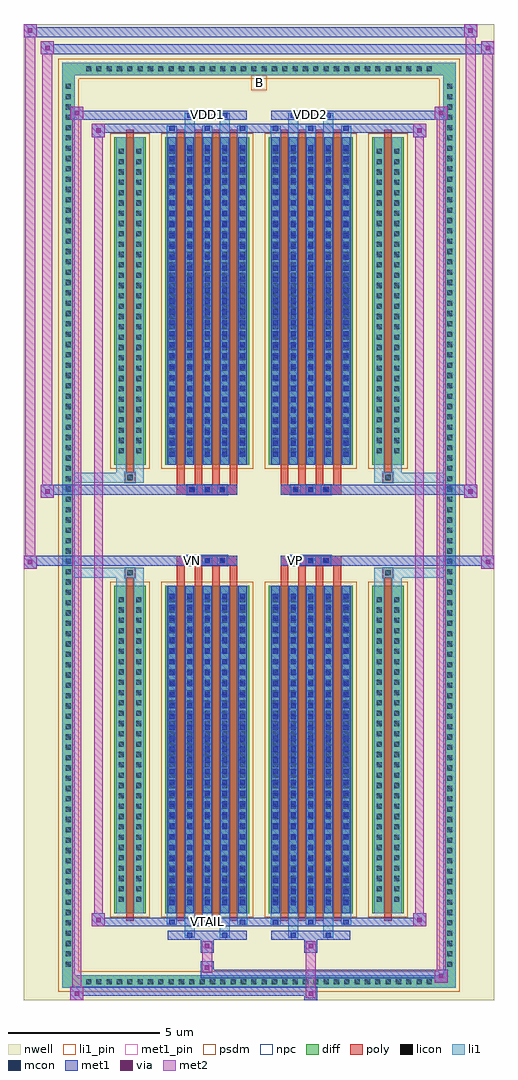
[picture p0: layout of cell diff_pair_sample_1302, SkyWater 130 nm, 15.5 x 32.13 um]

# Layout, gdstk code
import gdstk
lib = gdstk.Library(unit=1e-6, precision=5e-09)
def R(c, l, rs):  # rectangles x0, y0, x1, y1
    for r in rs: c.add(gdstk.rectangle(r[:2], r[2:], *l))
def A(c, l, x, y, w, h, nx, ny, dx, dy):  # array of equal rectangles
    R(c, l, [(x+i*dx, y+j*dy, x+i*dx+w, y+j*dy+h) for i in range(nx) for j in range(ny)])
def P(c, l, *ps):  # polygons
    for p in ps: c.add(gdstk.Polygon(p, *l))
nwell = (64, 20)
diff = (65, 20)
poly = (66, 20)
licon = (66, 44)
li1_pin = (67, 16)
li1 = (67, 20)
mcon = (67, 44)
met1_pin = (68, 16)
met1 = (68, 20)
via = (68, 44)
met2 = (69, 20)
psdm = (94, 20)
npc = (95, 20)

diff_pair_sample_1302 = lib.new_cell('diff_pair_sample_1302')
R(diff_pair_sample_1302, nwell, [(-7.75,-15.63,7.75,16.5), (-5.07,-13.82,-0.01,-0.8), (0.01,-13.82,5.07,-0.8), (-5.07,0.8,-0.01,13.82), (0.01,0.8,5.07,13.82)])
A(diff_pair_sample_1302, diff, -5.815, -15.23, 0.41, 0.41, 34, 2, 0.34, 30.05)
A(diff_pair_sample_1302, diff, -6.48, -14.655, 0.41, 0.41, 1, 86, 0, 0.34)
A(diff_pair_sample_1302, diff, 6.07, -14.655, 0.41, 0.41, 1, 86, 0, 0.34)
R(diff_pair_sample_1302, diff, [(-5.815,-15.23,5.815,-14.82), (-6.48,-14.655,-6.07,14.655), (6.07,-14.655,6.48,14.655), (-4.76,-12.775,-3.73,-1.985), (-3.09,-12.775,-0.32,-1.985), (0.32,-12.775,3.09,-1.985), (3.73,-12.775,4.76,-1.985), (-4.76,1.985,-3.73,12.775), (-3.09,1.985,-0.32,12.775), (0.32,1.985,3.09,12.775), (3.73,1.985,4.76,12.775), (-5.815,14.82,5.815,15.23)])
P(diff_pair_sample_1302, diff, [(6.48,15.23),(-6.48,15.23),(-6.48,-14.82),(-6.07,-14.82),(-6.07,14.82),(6.07,14.82),(6.07,-14.82),(-6.07,-14.82),(-6.48,-14.82),(-6.48,-15.23),(6.48,-15.23)])
A(diff_pair_sample_1302, poly, -2.7, -13.025, 0.25, 11.29, 4, 2, 0.58, 14.76)
A(diff_pair_sample_1302, poly, 0.71, -13.025, 0.25, 11.29, 4, 2, 0.58, 14.76)
A(diff_pair_sample_1302, poly, -2.7, -1.735, 0.25, 0.405, 4, 2, 0.58, 3.065)
A(diff_pair_sample_1302, poly, 0.71, -1.735, 0.25, 0.405, 4, 2, 0.58, 3.065)
A(diff_pair_sample_1302, poly, -2.37, -1.33, 0.33, 0.33, 3, 2, 0.5, 2.33)
A(diff_pair_sample_1302, poly, 1.04, -1.33, 0.33, 0.33, 3, 2, 0.5, 2.33)
R(diff_pair_sample_1302, poly, [(-4.37,-13.025,-4.12,-1.735), (4.12,-13.025,4.37,-1.735), (-4.41,-1.735,-4.08,-1.405), (-4.41,-1.735,-4.08,-1.405), (4.08,-1.735,4.41,-1.405), (4.08,-1.735,4.41,-1.405), (-2.7,-1.33,-0.71,-1), (0.71,-1.33,2.7,-1), (-2.7,1,-0.71,1.33), (0.71,1,2.7,1.33), (-4.41,1.405,-4.08,1.735), (-4.41,1.405,-4.08,1.735), (4.08,1.405,4.41,1.735), (4.08,1.405,4.41,1.735), (-4.37,1.735,-4.12,13.025), (4.12,1.735,4.37,13.025)])
A(diff_pair_sample_1302, licon, -5.695, -15.11, 0.17, 0.17, 34, 2, 0.34, 30.05)
A(diff_pair_sample_1302, licon, -6.36, -14.535, 0.17, 0.17, 1, 86, 0, 0.34)
A(diff_pair_sample_1302, licon, 6.19, -14.535, 0.17, 0.17, 1, 86, 0, 0.34)
A(diff_pair_sample_1302, licon, -4.62, -12.395, 0.17, 0.17, 1, 30, 0, 0.34)
A(diff_pair_sample_1302, licon, -4.04, -12.395, 0.17, 0.17, 1, 30, 0, 0.34)
A(diff_pair_sample_1302, licon, -2.95, -12.395, 0.17, 0.17, 5, 30, 0.58, 0.34)
A(diff_pair_sample_1302, licon, 0.46, -12.395, 0.17, 0.17, 5, 30, 0.58, 0.34)
A(diff_pair_sample_1302, licon, 3.87, -12.395, 0.17, 0.17, 1, 30, 0, 0.34)
A(diff_pair_sample_1302, licon, 4.45, -12.395, 0.17, 0.17, 1, 30, 0, 0.34)
A(diff_pair_sample_1302, licon, -2.29, -1.25, 0.17, 0.17, 3, 2, 0.5, 2.33)
A(diff_pair_sample_1302, licon, 1.12, -1.25, 0.17, 0.17, 3, 2, 0.5, 2.33)
A(diff_pair_sample_1302, licon, -4.62, 2.365, 0.17, 0.17, 1, 30, 0, 0.34)
A(diff_pair_sample_1302, licon, -4.04, 2.365, 0.17, 0.17, 1, 30, 0, 0.34)
A(diff_pair_sample_1302, licon, -2.95, 2.365, 0.17, 0.17, 5, 30, 0.58, 0.34)
A(diff_pair_sample_1302, licon, 0.46, 2.365, 0.17, 0.17, 5, 30, 0.58, 0.34)
A(diff_pair_sample_1302, licon, 3.87, 2.365, 0.17, 0.17, 1, 30, 0, 0.34)
A(diff_pair_sample_1302, licon, 4.45, 2.365, 0.17, 0.17, 1, 30, 0, 0.34)
R(diff_pair_sample_1302, licon, [(-4.33,-1.655,-4.16,-1.485), (4.16,-1.655,4.33,-1.485), (-4.33,1.485,-4.16,1.655), (4.16,1.485,4.33,1.655)])
R(diff_pair_sample_1302, li1_pin, [(-0.25,14.32,0.25,14.82)])
A(diff_pair_sample_1302, li1, -5.775, -15.19, 0.33, 0.33, 34, 2, 0.34, 30.05)
A(diff_pair_sample_1302, li1, -6.44, -14.615, 0.33, 0.33, 1, 86, 0, 0.34)
A(diff_pair_sample_1302, li1, 6.11, -14.615, 0.33, 0.33, 1, 86, 0, 0.34)
A(diff_pair_sample_1302, li1, -3.03, -13.15, 0.33, 0.375, 3, 2, 1.16, 25.925)
A(diff_pair_sample_1302, li1, -2.95, -13.15, 0.17, 0.17, 3, 2, 1.16, 26.13)
A(diff_pair_sample_1302, li1, 0.38, -13.15, 0.33, 0.375, 3, 2, 1.16, 25.925)
A(diff_pair_sample_1302, li1, 0.46, -13.15, 0.17, 0.17, 3, 2, 1.16, 26.13)
A(diff_pair_sample_1302, li1, -3.03, -12.775, 0.33, 10.79, 5, 2, 0.58, 14.76)
A(diff_pair_sample_1302, li1, 0.38, -12.775, 0.33, 10.79, 5, 2, 0.58, 14.76)
A(diff_pair_sample_1302, li1, -2.95, -12.505, 0.17, 0.17, 5, 29, 0.58, 0.36)
A(diff_pair_sample_1302, li1, -2.95, -12.505, 0.17, 10.25, 5, 2, 0.58, 14.76)
A(diff_pair_sample_1302, li1, 0.46, -12.505, 0.17, 0.17, 5, 29, 0.58, 0.36)
A(diff_pair_sample_1302, li1, 0.46, -12.505, 0.17, 10.25, 5, 2, 0.58, 14.76)
A(diff_pair_sample_1302, li1, -4.7, -12.475, 0.33, 0.33, 1, 30, 0, 0.34)
A(diff_pair_sample_1302, li1, -4.12, -12.475, 0.33, 0.33, 1, 30, 0, 0.34)
A(diff_pair_sample_1302, li1, -3.03, -12.475, 0.33, 0.33, 5, 30, 0.58, 0.34)
A(diff_pair_sample_1302, li1, 0.38, -12.475, 0.33, 0.33, 5, 30, 0.58, 0.34)
A(diff_pair_sample_1302, li1, 3.79, -12.475, 0.33, 0.33, 1, 30, 0, 0.34)
A(diff_pair_sample_1302, li1, 4.37, -12.475, 0.33, 0.33, 1, 30, 0, 0.34)
A(diff_pair_sample_1302, li1, -2.37, -1.33, 0.33, 0.33, 3, 2, 0.5, 2.33)
A(diff_pair_sample_1302, li1, 1.04, -1.33, 0.33, 0.33, 3, 2, 0.5, 2.33)
A(diff_pair_sample_1302, li1, -2.95, 2.255, 0.17, 0.17, 5, 29, 0.58, 0.36)
A(diff_pair_sample_1302, li1, 0.46, 2.255, 0.17, 0.17, 5, 29, 0.58, 0.36)
A(diff_pair_sample_1302, li1, -4.7, 2.285, 0.33, 0.33, 1, 30, 0, 0.34)
A(diff_pair_sample_1302, li1, -4.12, 2.285, 0.33, 0.33, 1, 30, 0, 0.34)
A(diff_pair_sample_1302, li1, -3.03, 2.285, 0.33, 0.33, 5, 30, 0.58, 0.34)
A(diff_pair_sample_1302, li1, 0.38, 2.285, 0.33, 0.33, 5, 30, 0.58, 0.34)
A(diff_pair_sample_1302, li1, 3.79, 2.285, 0.33, 0.33, 1, 30, 0, 0.34)
A(diff_pair_sample_1302, li1, 4.37, 2.285, 0.33, 0.33, 1, 30, 0, 0.34)
R(diff_pair_sample_1302, li1, [(-6.48,-15.23,-6.07,-14.82), (-6.48,-15.23,-6.07,-14.82), (-6.07,-15.23,6.07,-14.82), (6.07,-15.23,6.48,-14.82), (6.07,-15.23,6.48,-14.82), (-6.48,-14.82,-6.07,14.82), (6.07,-14.82,6.48,14.82), (-2.45,-13.58,-2.12,-12.775), (-2.37,-13.58,-2.2,-13.41), (-1.29,-13.58,-0.96,-12.775), (-1.21,-13.58,-1.04,-13.41), (0.96,-13.58,1.29,-12.775), (1.04,-13.58,1.21,-13.41), (2.12,-13.58,2.45,-12.775), (2.2,-13.58,2.37,-13.41), (-4.7,-12.775,-4.37,-1.985), (-4.12,-12.775,-3.79,-1.985), (3.79,-12.775,4.12,-1.985), (4.37,-12.775,4.7,-1.985), (-4.7,-1.985,-4.37,-1.405), (-4.12,-1.985,-3.79,-1.405), (3.79,-1.985,4.12,-1.405), (4.37,-1.985,4.7,-1.405), (-6.48,-1.735,-4.41,-1.405), (-4.7,-1.735,-4.41,-1.405), (-4.41,-1.735,-4.08,-1.405), (-4.08,-1.735,-3.79,-1.405), (3.79,-1.735,4.08,-1.405), (4.08,-1.735,4.41,-1.405), (4.08,-1.735,6.48,-1.405), (4.41,-1.735,4.7,-1.405), (-6.48,1.405,-4.41,1.735), (-4.7,1.405,-4.41,1.735), (-4.7,1.405,-4.37,1.985), (-4.41,1.405,-4.08,1.735), (-4.12,1.405,-3.79,1.985), (-4.08,1.405,-3.79,1.735), (3.79,1.405,4.08,1.735), (3.79,1.405,4.12,1.985), (4.08,1.405,4.41,1.735), (4.08,1.405,6.48,1.735), (4.37,1.405,4.7,1.985), (4.41,1.405,4.7,1.735), (-4.7,1.985,-4.37,12.775), (-4.12,1.985,-3.79,12.775), (3.79,1.985,4.12,12.775), (4.37,1.985,4.7,12.775), (-2.45,12.775,-2.12,13.58), (-1.29,12.775,-0.96,13.58), (0.96,12.775,1.29,13.58), (2.12,12.775,2.45,13.58), (-2.37,13.41,-2.2,13.58), (-1.21,13.41,-1.04,13.58), (1.04,13.41,1.21,13.58), (2.2,13.41,2.37,13.58), (-6.48,14.82,-6.07,15.23), (-6.48,14.82,-6.07,15.23), (-6.07,14.82,6.07,15.23), (6.07,14.82,6.48,15.23), (6.07,14.82,6.48,15.23)])
A(diff_pair_sample_1302, mcon, -2.95, -13.15, 0.17, 0.17, 3, 2, 1.16, 26.13)
A(diff_pair_sample_1302, mcon, 0.46, -13.15, 0.17, 0.17, 3, 2, 1.16, 26.13)
A(diff_pair_sample_1302, mcon, -2.95, -12.505, 0.17, 0.17, 5, 29, 0.58, 0.36)
A(diff_pair_sample_1302, mcon, 0.46, -12.505, 0.17, 0.17, 5, 29, 0.58, 0.36)
A(diff_pair_sample_1302, mcon, -2.29, -1.25, 0.17, 0.17, 3, 2, 0.5, 2.33)
A(diff_pair_sample_1302, mcon, 1.12, -1.25, 0.17, 0.17, 3, 2, 0.5, 2.33)
A(diff_pair_sample_1302, mcon, -2.95, 2.255, 0.17, 0.17, 5, 29, 0.58, 0.36)
A(diff_pair_sample_1302, mcon, 0.46, 2.255, 0.17, 0.17, 5, 29, 0.58, 0.36)
R(diff_pair_sample_1302, mcon, [(-2.37,-13.58,-2.2,-13.41), (-1.21,-13.58,-1.04,-13.41), (1.04,-13.58,1.21,-13.41), (2.2,-13.58,2.37,-13.41), (-2.37,13.41,-2.2,13.58), (-1.21,13.41,-1.04,13.58), (1.04,13.41,1.21,13.58), (2.2,13.41,2.37,13.58)])
R(diff_pair_sample_1302, met1_pin, [(-1.84,-13.19,-1.57,-12.92), (-2.34,-1.29,-2.07,-1.02), (1.07,-1.29,1.34,-1.02), (-1.84,13.37,-1.57,13.64), (1.57,13.37,1.84,13.64)])
A(diff_pair_sample_1302, met1, -3.01, -13.21, 0.29, 0.29, 3, 2, 1.16, 26.13)
A(diff_pair_sample_1302, met1, 0.4, -13.21, 0.29, 0.29, 3, 2, 1.16, 26.13)
A(diff_pair_sample_1302, met1, -3.01, -12.775, 0.29, 10.79, 5, 2, 0.58, 14.76)
A(diff_pair_sample_1302, met1, 0.4, -12.775, 0.29, 10.79, 5, 2, 0.58, 14.76)
A(diff_pair_sample_1302, met1, -3.01, -12.565, 0.29, 0.29, 5, 29, 0.58, 0.36)
A(diff_pair_sample_1302, met1, 0.4, -12.565, 0.29, 0.29, 5, 29, 0.58, 0.36)
A(diff_pair_sample_1302, met1, -2.35, -1.31, 0.29, 0.29, 3, 2, 0.5, 2.33)
A(diff_pair_sample_1302, met1, 1.06, -1.31, 0.29, 0.29, 3, 2, 0.5, 2.33)
A(diff_pair_sample_1302, met1, -3.01, 2.195, 0.29, 0.29, 5, 29, 0.58, 0.36)
A(diff_pair_sample_1302, met1, 0.4, 2.195, 0.29, 0.29, 5, 29, 0.58, 0.36)
R(diff_pair_sample_1302, met1, [(-6.21,-15.63,-5.78,-15.2), (1.49,-15.63,1.92,-15.2), (-6.21,-15.49,1.92,-15.2), (5.78,-15.06,6.21,-14.63), (-1.92,-14.92,6.21,-14.63), (-1.92,-14.78,-1.49,-14.35), (-1.92,-14.07,-1.49,-13.64), (1.49,-14.07,1.92,-13.64), (-3.01,-13.64,-0.4,-13.35), (-2.43,-13.64,-2.14,-13.35), (-1.27,-13.64,-0.98,-13.35), (0.4,-13.64,3.01,-13.35), (0.98,-13.64,1.27,-13.35), (2.14,-13.64,2.43,-13.35), (-5.5,-13.21,-5.07,-12.78), (-5.5,-13.21,-3.01,-12.92), (-3.01,-13.21,-0.4,-12.92), (-0.4,-13.21,0.4,-12.92), (0.4,-13.21,3.01,-12.92), (3.01,-13.21,5.5,-12.92), (5.07,-13.21,5.5,-12.78), (-7.75,-1.43,-7.32,-1), (7.32,-1.43,7.75,-1), (-7.75,-1.33,-0.71,-1), (-2.7,-1.33,-0.71,-1), (0.71,-1.33,2.7,-1), (0.71,-1.33,7.75,-1), (-7.18,0.9,-6.75,1.33), (6.75,0.9,7.18,1.33), (-7.18,1,-2.7,1.33), (-2.7,1,-0.71,1.33), (0.71,1,2.7,1.33), (2.7,1,7.18,1.33), (-5.5,12.78,-5.07,13.21), (5.07,12.78,5.5,13.21), (-5.5,12.92,-3.01,13.21), (-3.01,12.92,-0.4,13.21), (-0.4,12.92,0.4,13.21), (0.4,12.92,3.01,13.21), (3.01,12.92,5.5,13.21), (-6.21,13.35,-5.78,13.78), (-6.21,13.35,-3.01,13.64), (-3.01,13.35,-0.4,13.64), (-2.43,13.35,-2.14,13.64), (-1.27,13.35,-0.98,13.64), (0.4,13.35,3.01,13.64), (0.98,13.35,1.27,13.64), (2.14,13.35,2.43,13.64), (3.01,13.35,6.21,13.64), (5.78,13.35,6.21,13.78), (-7.18,15.5,-6.75,15.93), (-7.18,15.5,-5.07,15.83), (-5.07,15.5,5.07,15.83), (5.07,15.5,7.75,15.83), (7.32,15.5,7.75,15.93), (-7.75,16.07,-7.32,16.5), (-7.75,16.07,-5.07,16.4), (-5.07,16.07,5.07,16.4), (5.07,16.07,7.18,16.4), (6.75,16.07,7.18,16.5)])
R(diff_pair_sample_1302, via, [(-6.07,-15.49,-5.92,-15.34), (1.63,-15.49,1.78,-15.34), (5.92,-14.92,6.07,-14.77), (-1.78,-14.64,-1.63,-14.49), (-1.78,-13.93,-1.63,-13.78), (1.63,-13.93,1.78,-13.78), (-5.36,-13.07,-5.21,-12.92), (5.21,-13.07,5.36,-12.92), (-7.61,-1.29,-7.46,-1.14), (7.46,-1.29,7.61,-1.14), (-7.04,1.04,-6.89,1.19), (6.89,1.04,7.04,1.19), (-5.36,12.92,-5.21,13.07), (5.21,12.92,5.36,13.07), (-6.07,13.49,-5.92,13.64), (5.92,13.49,6.07,13.64), (-7.04,15.64,-6.89,15.79), (7.46,15.64,7.61,15.79), (-7.61,16.21,-7.46,16.36), (6.89,16.21,7.04,16.36)])
R(diff_pair_sample_1302, met2, [(-6.21,-15.63,-5.78,-15.2), (-6.14,-15.63,-5.85,13.78), (-5.85,-15.63,-5.78,-15.2), (-6.16,-15.58,-5.83,-15.25), (1.54,-15.58,1.87,-15.25), (1.54,-15.25,1.87,-14.02), (5.78,-15.06,6.21,-14.63), (5.85,-15.06,6.14,13.78), (6.14,-15.06,6.21,-14.63), (5.83,-15.01,6.16,-14.68), (-1.87,-14.73,-1.54,-14.4), (-1.87,-14.4,-1.54,-14.02), (-1.87,-14.02,-1.54,-13.69), (1.54,-14.02,1.87,-13.69), (-5.5,-13.21,-5.07,-12.78), (-5.43,-13.21,-5.14,13.21), (-5.14,-13.21,-5.07,-12.78), (5.07,-13.21,5.5,-12.78), (5.14,-13.21,5.43,13.21), (5.43,-13.21,5.5,-12.78), (-5.45,-13.16,-5.12,-12.83), (5.12,-13.16,5.45,-12.83), (-7.75,-1.43,-7.32,-1), (-7.7,-1.43,-7.37,16.5), (-7.37,-1.43,-7.32,-1), (7.32,-1.43,7.75,-1), (7.37,-1.43,7.7,15.93), (7.7,-1.43,7.75,-1), (-7.7,-1.38,-7.37,-1.05), (7.37,-1.38,7.7,-1.05), (-7.18,0.9,-6.75,1.33), (-7.13,0.9,-6.8,15.93), (-6.8,0.9,-6.75,1.33), (6.75,0.9,7.18,1.33), (6.8,0.9,7.13,16.5), (7.13,0.9,7.18,1.33), (-7.13,0.95,-6.8,1.28), (6.8,0.95,7.13,1.28), (-5.5,12.78,-5.07,13.21), (-5.14,12.78,-5.07,13.21), (5.07,12.78,5.5,13.21), (5.43,12.78,5.5,13.21), (-5.45,12.83,-5.12,13.16), (5.12,12.83,5.45,13.16), (-6.21,13.35,-5.78,13.78), (-5.85,13.35,-5.78,13.78), (5.78,13.35,6.21,13.78), (6.14,13.35,6.21,13.78), (-6.16,13.4,-5.83,13.73), (5.83,13.4,6.16,13.73), (-7.18,15.5,-6.75,15.93), (-6.8,15.5,-6.75,15.93), (7.32,15.5,7.75,15.93), (7.7,15.5,7.75,15.93), (-7.13,15.55,-6.8,15.88), (7.37,15.55,7.7,15.88), (-7.75,16.07,-7.32,16.5), (-7.37,16.07,-7.32,16.5), (6.75,16.07,7.18,16.5), (7.13,16.07,7.18,16.5), (-7.7,16.12,-7.37,16.45), (6.8,16.12,7.13,16.45)])
R(diff_pair_sample_1302, psdm, [(-4.89,-12.905,-3.6,-1.855), (-3.22,-12.905,-0.19,-1.855), (0.19,-12.905,3.22,-1.855), (3.6,-12.905,4.89,-1.855), (-4.89,1.855,-3.6,12.905), (-3.22,1.855,-0.19,12.905), (0.19,1.855,3.22,12.905), (3.6,1.855,4.89,12.905)])
P(diff_pair_sample_1302, psdm, [(6.61,15.36),(-6.61,15.36),(-6.61,-14.69),(-5.94,-14.69),(-5.94,14.69),(5.94,14.69),(5.94,-14.69),(-5.94,-14.69),(-6.61,-14.69),(-6.61,-15.36),(6.61,-15.36)])
A(diff_pair_sample_1302, npc, -2.39, -1.35, 0.37, 0.37, 3, 2, 0.5, 2.33)
A(diff_pair_sample_1302, npc, 1.02, -1.35, 0.37, 0.37, 3, 2, 0.5, 2.33)
R(diff_pair_sample_1302, npc, [(-4.43,-1.755,-4.06,-1.385), (4.06,-1.755,4.43,-1.385), (-2.39,-1.35,-1.52,-0.98), (-2.39,-1.35,-1.52,-0.98), (-1.89,-1.35,-1.02,-0.98), (-1.89,-1.35,-1.02,-0.98), (1.02,-1.35,1.89,-0.98), (1.02,-1.35,1.89,-0.98), (1.52,-1.35,2.39,-0.98), (1.52,-1.35,2.39,-0.98), (-2.39,0.98,-1.52,1.35), (-2.39,0.98,-1.52,1.35), (-1.89,0.98,-1.02,1.35), (-1.89,0.98,-1.02,1.35), (1.02,0.98,1.89,1.35), (1.02,0.98,1.89,1.35), (1.52,0.98,2.39,1.35), (1.52,0.98,2.39,1.35), (-4.43,1.385,-4.06,1.755), (4.06,1.385,4.43,1.755)])
diff_pair_sample_1302.add(gdstk.Label('VTAIL', (-1.705,-13.055), layer=68, texttype=5))
diff_pair_sample_1302.add(gdstk.Label('VN', (-2.205,-1.155), layer=68, texttype=5))
diff_pair_sample_1302.add(gdstk.Label('VP', (1.205,-1.155), layer=68, texttype=5))
diff_pair_sample_1302.add(gdstk.Label('B', (0,14.57), layer=67, texttype=5))
diff_pair_sample_1302.add(gdstk.Label('VDD2', (1.705,13.505), layer=68, texttype=5))
diff_pair_sample_1302.add(gdstk.Label('VDD1', (-1.705,13.505), layer=68, texttype=5))

lib.write_gds('diff_pair_sample_1302.gds')
